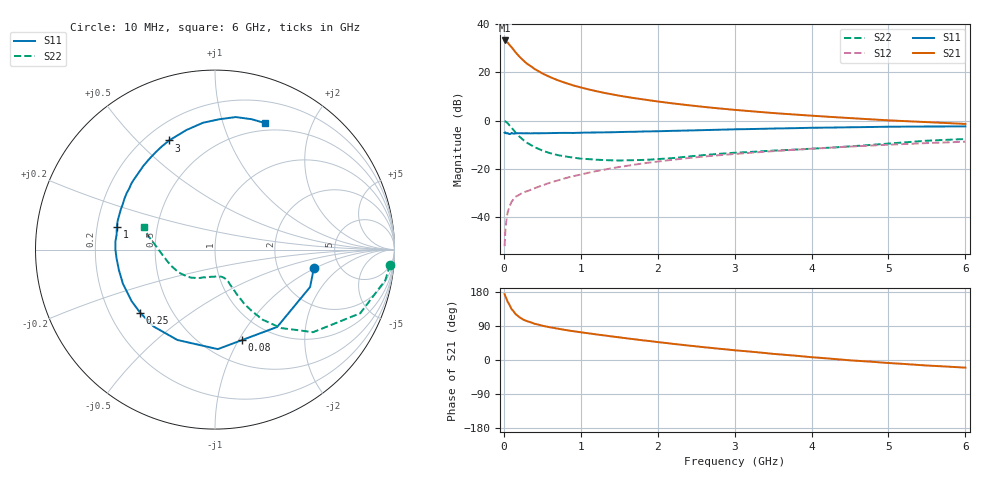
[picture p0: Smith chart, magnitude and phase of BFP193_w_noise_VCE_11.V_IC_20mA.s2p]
! (c) 2017  Infineon Technologies AG, Munich
! Infineon Technologies  Discrete & RF Semiconductors
! BFP193
! VCE =  11. V,  IC =  20 mA
! Common Emitter S-Parameters:  Jan 2017
# GHz  S  MA  R  50
!  f  S11  S21  S12  S22
! GHz  MAG  ANG  MAG  ANG  MAG  ANG  MAG  ANG
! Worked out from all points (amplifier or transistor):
!   77 points, 10 MHz to 6 GHz, reference 50 ohm
!   highest |S21| = 33.2 dB at 10 MHz (marker M1)
!   |S21| within 3 dB of that: start of sweep to 105.8 MHz
!   unconditionally stable (mu >= 1): 897.9 MHz to 2.526 GHz
!   at 130 MHz: K = 0.36, MSG = 30.8 dB, |S12| = -32.4 dB
!   at 2.2 GHz: K = 1.02, MAG = 10.9 dB, |S12| = -16.2 dB
!   at 6 GHz: K = 0.88, MSG = 3.7 dB, |S12| = -8.7 dB
!   lowest NFmin = 1.05 dB at 450 MHz
!   S11 on the Smith chart (normalised r, x): 10 MHz: 3.22, -0.98; 80 MHz: 0.74, -1.03; 250 MHz: 0.33, -0.33; 1 GHz: 0.28, +0.10; 3 GHz: 0.29, +0.62; 6 GHz: 0.42, +1.39
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0.01  0.5604 -10.7  45.76 173.8  0.0025 76.0  0.9785 -4.9
0.02  0.5693 -21.5  45.73 168.5  0.0052 78.1  0.9643 -10.2
0.05  0.5529 -51.2  41.35 153.4  0.0127 69.3  0.8835 -23.7
0.08  0.5263 -73.7  36.01 143.0  0.0174 62.0  0.7742 -32.7
0.1  0.5547 -88.4  33.28 134.4  0.0206 59.0  0.7145 -40.1
0.15  0.5454 -112.6  26.3 121.8  0.0263 53.3  0.5713 -49.9
0.2  0.5482 -128.5  21.35 113.3  0.029 51.7  0.472 -55.8
0.25  0.5454 -140.0  17.81 106.9  0.0326 49.0  0.4 -59.0
0.3  0.5462 -148.2  15.17 102.5  0.0343 50.5  0.3476 -61.5
0.4  0.5471 -159.7  11.73 95.6  0.0396 53.1  0.2805 -63.8
0.5  0.5475 -168.1  9.49 90.5  0.0454 55.1  0.2395 -65.4
0.6  0.5505 -174.7  7.989 86.3  0.0517 56.9  0.2116 -66.7
0.7  0.5546 -179.8  6.875 82.8  0.0574 58.8  0.1927 -67.5
1  0.561 167.2  4.865 73.2  0.0762 59.9  0.1628 -72.8
1.1  0.5653 163.7  4.435 70.4  0.0831 59.9  0.1591 -74.7
1.5  0.5789 150.6  3.281 59.8  0.1092 58.3  0.1489 -86.7
2.1  0.6069 133.3  2.377 45.1  0.148 53.7  0.1631 -108.7
3  0.6596 112.8  1.669 25.7  0.2034 44.6  0.2158 -135.9
3.1  0.6632 110.9  1.619 24.0  0.2092 43.5  0.2196 -138.5
4.1  0.7123 93.9  1.235 5.9  0.2666 33.0  0.2669 -163.2
5.1  0.748 79.7  0.995 -9.2  0.3213 22.1  0.3432 173.9
6  0.758 68.3  0.853 -20.2  0.3655 12.0  0.4159 162.1
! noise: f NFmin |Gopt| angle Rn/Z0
0.45  1.05  0.27  180  0.07
0.9  1.13  0.36  -178  0.07
1.9  1.76  0.56  -140  0.15
2.4  2.1  0.62  -124  0.34
